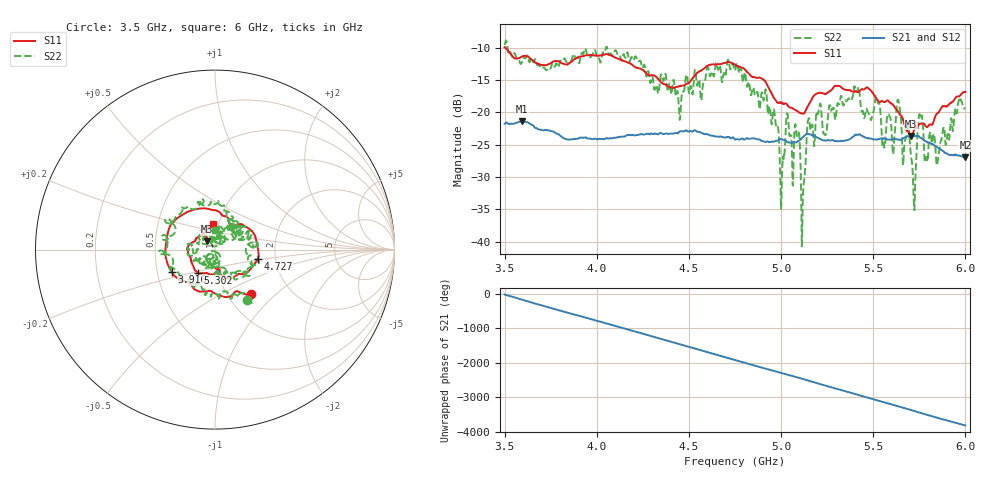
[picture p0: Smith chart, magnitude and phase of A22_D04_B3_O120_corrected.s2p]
! Created with skrf 1.9.0 (http://scikit-rf.org).
# Hz S RI R 50.0
!freq ReS11 ImS11 ReS21 ImS21 ReS12 ImS12 ReS22 ImS22
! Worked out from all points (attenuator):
!   1601 points, 3.5 GHz to 6 GHz, reference 50 ohm
!   highest |S21| = -21.40 dB at 3.592 GHz (marker M1); lowest = -27.0 dB at 6 GHz (marker M2)
!   lowest |S11| = -23.6 dB at 5.706 GHz (marker M3), VSWR 1.14, Z = 45.3 + j4.19 ohm
!   |S11| at or under -10 dB: 3.504 GHz to end of sweep
!   |S22| runs from -40.7 to -8.9 dB; largest |S21 - S12| = 0.001
!   S11 on the Smith chart (normalised r, x): 3.5 GHz: 1.27, -0.71; 3.916 GHz: 0.60, -0.16; 4.727 GHz: 1.61, -0.18; 5.302 GHz: 0.80, -0.21; 6 GHz: 0.94, +0.28
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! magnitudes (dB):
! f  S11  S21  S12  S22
! 3.5 GHz  -9.9  -21.7  -21.7  -9.5
! 3.592 GHz  -11.4  -21.4  -21.4  -12.3
! 3.916 GHz  -11.3  -23.9  -23.9  -11.0
! 3.917 GHz  -11.3  -23.9  -23.9  -10.8
! 4.334 GHz  -14.9  -23.4  -23.3  -17.0
! 4.727 GHz  -12.3  -24.0  -23.9  -13.2
! 4.75 GHz  -12.6  -24.2  -24.1  -13.5
! 4.969 GHz  -18.0  -24.4  -24.4  -21.4
! 5.005 GHz  -18.5  -24.1  -24.1  -29.8
! 5.033 GHz  -18.8  -24.6  -24.5  -20.1
! 5.086 GHz  -19.8  -24.6  -24.5  -23.7
! 5.119 GHz  -20.2  -23.8  -23.7  -32.7
! 5.145 GHz  -19.0  -23.3  -23.3  -21.3
! 5.167 GHz  -17.9  -23.5  -23.4  -21.9
! 5.302 GHz  -15.9  -24.4  -24.4  -19.6
! 5.584 GHz  -18.3  -24.2  -24.2  -20.3
! 5.638 GHz  -20.0  -24.2  -24.2  -18.3
! 5.706 GHz  -23.6  -23.7  -23.7  -27.2
! 5.725 GHz  -22.6  -23.6  -23.6  -33.8
! 5.756 GHz  -21.7  -23.9  -23.8  -20.9
! 5.85 GHz  -20.1  -25.4  -25.4  -27.4
! 6 GHz  -16.8  -27.0  -26.9  -19.4
